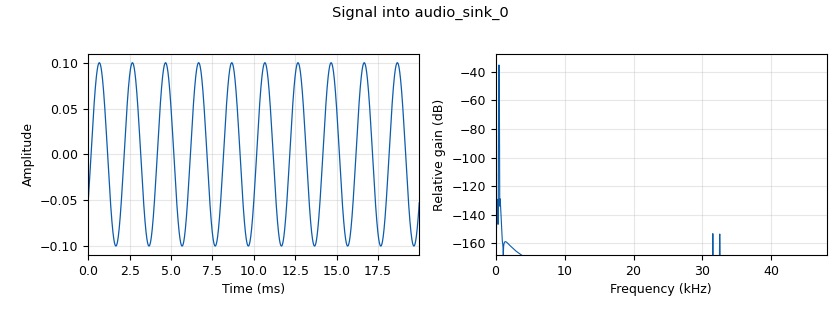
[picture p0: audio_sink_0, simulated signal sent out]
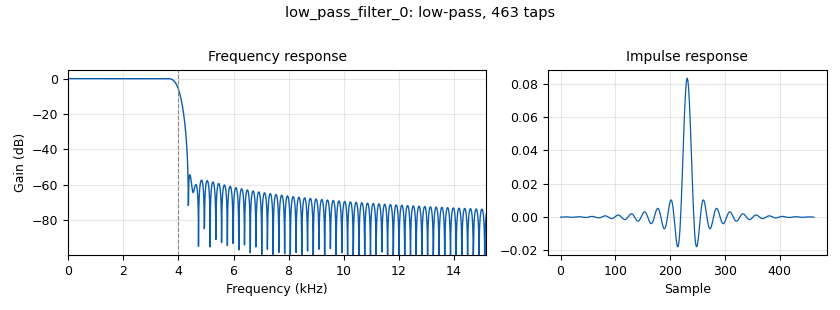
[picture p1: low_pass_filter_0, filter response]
options:
  parameters:
    author: adrian
    generate_options: qt_gui
    id: ITD
    output_language: python
    title: ITD
  states: {}

blocks:
- name: A
  id: variable_qtgui_range
  parameters:
    start: '0'
    step: '.01'
    stop: '10'
    value: '.1'
  states: {}
- name: FFAGC_L
  id: variable
  parameters:
    value: int(samp_rate/64)
  states: {}
- name: FFT_L
  id: variable
  parameters:
    value: '1024'
  states: {}
- name: dec
  id: variable
  parameters:
    value: '100'
  states: {}
- name: f
  id: variable_qtgui_range
  parameters:
    label: f
    start: '100'
    step: '10'
    stop: '5000'
    value: '500'
  states: {}
- name: fc
  id: variable
  parameters:
    value: '4000'
  states: {}
- name: ft
  id: variable
  parameters:
    value: fc/8
  states: {}
- name: imp_L
  id: variable
  parameters:
    value: '10'
  states: {}
- name: imp_N
  id: variable
  parameters:
    value: FFT_L//4
  states: {}
- name: samp_rate
  id: variable
  parameters:
    value: '96000'
  states: {}
- name: analog_const_source_x_0
  id: analog_const_source_x
  parameters:
    const: '0'
    type: float
  states: {}
- name: analog_feedforward_agc_cc_0
  id: analog_feedforward_agc_cc
  parameters:
    num_samples: FFAGC_L
    reference: '1.0'
  states: {state: bypassed}
- name: analog_feedforward_agc_cc_1
  id: analog_feedforward_agc_cc
  parameters:
    num_samples: FFAGC_L
    reference: '1.0'
  states: {state: bypassed}
- name: analog_sig_source_x_0
  id: analog_sig_source_x
  parameters:
    amp: A
    freq: f
    offset: '0'
    phase: '0'
    samp_rate: samp_rate
    type: float
    waveform: analog.GR_COS_WAVE
  states: {}
- name: audio_sink_0
  id: audio_sink
  parameters:
    samp_rate: samp_rate
  states: {}
- name: audio_source_0
  id: audio_source
  parameters:
    comment: |-
      out0 = Right
      out1 = Left
    num_outputs: '2'
    ok_to_block: 'False'
    samp_rate: samp_rate
  states: {}
- name: blocks_complex_to_float_0
  id: blocks_complex_to_float
  parameters: {}
  states: {}
- name: blocks_complex_to_float_0_0
  id: blocks_complex_to_float
  parameters: {}
  states: {}
- name: blocks_complex_to_float_1
  id: blocks_complex_to_float
  parameters:
    vlen: FFT_L
  states: {state: disabled}
- name: blocks_complex_to_magphase_0
  id: blocks_complex_to_magphase
  parameters:
    vlen: FFT_L
  states: {state: disabled}
- name: blocks_complex_to_magphase_0_0
  id: blocks_complex_to_magphase
  parameters:
    vlen: FFT_L
  states: {state: disabled}
- name: blocks_complex_to_magphase_0_1
  id: blocks_complex_to_magphase
  parameters:
    vlen: FFT_L
  states: {}
- name: blocks_float_to_complex_0
  id: blocks_float_to_complex
  parameters: {}
  states: {}
- name: blocks_float_to_complex_0_0
  id: blocks_float_to_complex
  parameters: {}
  states: {}
- name: blocks_integrate_xx_0
  id: blocks_integrate_xx
  parameters:
    decim: dec
    type: float
    vlen: FFT_L
  states: {}
- name: blocks_multiply_const_vxx_0
  id: blocks_multiply_const_vxx
  parameters:
    const: (FFT_L**-1)*np.array([1] * int(FFT_L/2) + [0] *int( FFT_L/2))
    type: float
    vlen: FFT_L
  states: {}
- name: blocks_multiply_const_xx_0
  id: blocks_multiply_const_xx
  parameters:
    const: 1j
    type: complex
  states: {state: disabled}
- name: blocks_multiply_xx_0
  id: blocks_multiply_xx
  parameters:
    type: complex
    vlen: FFT_L
  states: {}
- name: blocks_null_sink_0
  id: blocks_null_sink
  parameters:
    num_inputs: '2'
    type: float
    vlen: FFT_L
  states: {state: disabled}
- name: blocks_null_sink_1
  id: blocks_null_sink
  parameters:
    type: float
    vlen: FFT_L
  states: {}
- name: blocks_phase_shift_0
  id: blocks_phase_shift
  parameters:
    is_radians: 'False'
    shift: '45'
  states: {}
- name: blocks_stream_to_vector_0
  id: blocks_stream_to_vector
  parameters:
    num_items: FFT_L
    type: complex
  states: {}
- name: blocks_stream_to_vector_0_0
  id: blocks_stream_to_vector
  parameters:
    num_items: FFT_L
    type: complex
  states: {}
- name: blocks_vector_source_x_0
  id: blocks_vector_source_x
  parameters:
    repeat: 'True'
    type: float
    vector: A*np.array([1] * imp_L + [0] * (imp_N - imp_L))
  states: {state: disabled}
- name: blocks_vector_to_stream_0
  id: blocks_vector_to_stream
  parameters:
    num_items: FFT_L
    type: float
  states: {state: disabled}
- name: blocks_vector_to_stream_1
  id: blocks_vector_to_stream
  parameters:
    num_items: FFT_L
    type: complex
  states: {}
- name: epy_block_0
  id: epy_block
  parameters:
    N: FFT_L
    _source_code: |
      """
      Embedded Python Blocks:

      Each time this file is saved, GRC will instantiate the first class it finds
      to get ports and parameters of your block. The arguments to __init__  will
      be the parameters. All of them are required to have default values!
      """

      import numpy as np
      from gnuradio import gr


      class blk(gr.sync_block):  # other base classes are basic_block, decim_block, interp_block
          """Takes a vector and returns the index of the maximum value"""

          def __init__(self, N=1024):  # only default arguments here
              """arguments to this function show up as parameters in GRC"""
              gr.sync_block.__init__(
                  self,
                  name='Max idx',   # will show up in GRC
                  in_sig=[(np.float32,N)],
                  out_sig=[(np.float32)]
              )
              # if an attribute with the same name as a parameter is found,
              # a callback is registered (properties work, too).
              self.N = N

          def work(self, input_items, output_items):
              """find idx of max"""
              output_items[0][:] = np.argmax(input_items[0])%self.N
              return len(output_items[0])
  states: {}
- name: epy_block_0_0
  id: epy_block
  parameters:
    N: FFT_L
    _source_code: |
      """
      Embedded Python Blocks:

      Each time this file is saved, GRC will instantiate the first class it finds
      to get ports and parameters of your block. The arguments to __init__  will
      be the parameters. All of them are required to have default values!
      """

      import numpy as np
      from gnuradio import gr


      class blk(gr.sync_block):  # other base classes are basic_block, decim_block, interp_block
          """Zeros out the second hald of the input vector"""

          def __init__(self, N=1024):  # only default arguments here
              """arguments to this function show up as parameters in GRC"""
              gr.sync_block.__init__(
                  self,
                  name='Zero Second Half',   # will show up in GRC
                  in_sig=[(np.float32,N)],
                  out_sig=[(np.float32,N)]
              )
              # if an attribute with the same name as a parameter is found,
              # a callback is registered (properties work, too).
              self.N = N

          def work(self, input_items, output_items):
              """zero out half"""
              tmp=input_items[0]
              tmp[:len(tmp)//2] = 0.0
              output_items[0][:] = input_items[0]
              return len(output_items[0])
  states: {state: disabled}
- name: fft_vxx_0
  id: fft_vxx
  parameters:
    fft_size: FFT_L
    forward: 'True'
    shift: 'False'
    type: complex
    window: window.blackmanharris(FFT_L)
  states: {}
- name: fft_vxx_0_0
  id: fft_vxx
  parameters:
    fft_size: FFT_L
    forward: 'True'
    shift: 'False'
    type: complex
    window: window.blackmanharris(FFT_L)
  states: {}
- name: fft_vxx_0_0_0
  id: fft_vxx
  parameters:
    fft_size: FFT_L
    forward: 'False'
    shift: 'True'
    type: complex
    window: window.blackmanharris(FFT_L)
  states: {}
- name: import_0
  id: import
  parameters:
    imports: import numpy as np
  states: {}
- name: low_pass_filter_0
  id: low_pass_filter
  parameters:
    cutoff_freq: fc
    decim: '1'
    gain: '1'
    samp_rate: samp_rate
    type: fir_filter_ccf
    width: ft
    win: window.WIN_HAMMING
  states: {}
- name: low_pass_filter_0_0
  id: low_pass_filter
  parameters:
    cutoff_freq: fc
    decim: '1'
    gain: '1'
    samp_rate: samp_rate
    type: fir_filter_ccf
    width: ft
    win: window.WIN_HAMMING
  states: {}
- name: qtgui_const_sink_x_0
  id: qtgui_const_sink_x
  parameters:
    size: '1024'
    type: complex
  states: {}
- name: qtgui_time_sink_x_0
  id: qtgui_time_sink_x
  parameters:
    color1: black
    label1: L_re
    label2: R_re
    nconnections: '3'
    size: FFT_L*10
    srate: samp_rate
    type: float
  states: {}
- name: qtgui_time_sink_x_1
  id: qtgui_time_sink_x
  parameters:
    size: '10'
    srate: samp_rate/FFT_L/dec
    type: float
    ymax: FFT_L
    ymin: '0'
  states: {}
- name: qtgui_vector_sink_f_0
  id: qtgui_vector_sink_f
  parameters:
    color1: '"red"'
    color2: '"blue"'
    label1: Mag L
    label2: Mag R
    name: '"R and L freq domain"'
    nconnections: '2'
    vlen: FFT_L
    x_start: '-samp_rate/2'
    x_step: samp_rate/FFT_L
    ymax: '1'
    ymin: '-.01'
  states: {state: disabled}
- name: qtgui_vector_sink_f_0_0
  id: qtgui_vector_sink_f
  parameters:
    name: '"AUTOCORRELATION"'
    vlen: FFT_L
    x_start: '0'
    x_step: '1.0'
  states: {state: disabled}
- name: qtgui_vector_sink_f_0_1
  id: qtgui_vector_sink_f
  parameters:
    color1: '"red"'
    label1: correlation
    name: '"Cross Correlation"'
    vlen: FFT_L
    x_start: '0'
    x_step: '1'
    ymax: '1'
    ymin: '-.01'
  states: {}

connections:
- [analog_const_source_x_0, '0', blocks_float_to_complex_0, '1']
- [analog_const_source_x_0, '0', blocks_float_to_complex_0_0, '1']
- [analog_feedforward_agc_cc_0, '0', low_pass_filter_0, '0']
- [analog_feedforward_agc_cc_1, '0', low_pass_filter_0_0, '0']
- [analog_sig_source_x_0, '0', audio_sink_0, '0']
- [analog_sig_source_x_0, '0', qtgui_time_sink_x_0, '2']
- [audio_source_0, '0', blocks_float_to_complex_0, '0']
- [audio_source_0, '1', blocks_float_to_complex_0_0, '0']
- [blocks_complex_to_float_0, '0', qtgui_time_sink_x_0, '0']
- [blocks_complex_to_float_0_0, '0', qtgui_time_sink_x_0, '1']
- [blocks_complex_to_float_1, '1', blocks_null_sink_1, '0']
- [blocks_complex_to_magphase_0, '0', qtgui_vector_sink_f_0, '0']
- [blocks_complex_to_magphase_0, '1', blocks_null_sink_0, '0']
- [blocks_complex_to_magphase_0_0, '0', qtgui_vector_sink_f_0, '1']
- [blocks_complex_to_magphase_0_0, '1', blocks_null_sink_0, '1']
- [blocks_complex_to_magphase_0_1, '0', blocks_multiply_const_vxx_0, '0']
- [blocks_complex_to_magphase_0_1, '0', epy_block_0_0, '0']
- [blocks_complex_to_magphase_0_1, '1', blocks_null_sink_1, '0']
- [blocks_float_to_complex_0, '0', analog_feedforward_agc_cc_0, '0']
- [blocks_float_to_complex_0_0, '0', blocks_multiply_const_xx_0, '0']
- [blocks_float_to_complex_0_0, '0', blocks_phase_shift_0, '0']
- [blocks_integrate_xx_0, '0', epy_block_0, '0']
- [blocks_integrate_xx_0, '0', qtgui_vector_sink_f_0_1, '0']
- [blocks_multiply_const_vxx_0, '0', blocks_integrate_xx_0, '0']
- [blocks_multiply_const_xx_0, '0', analog_feedforward_agc_cc_1, '0']
- [blocks_multiply_xx_0, '0', fft_vxx_0_0_0, '0']
- [blocks_phase_shift_0, '0', analog_feedforward_agc_cc_1, '0']
- [blocks_stream_to_vector_0, '0', fft_vxx_0, '0']
- [blocks_stream_to_vector_0_0, '0', fft_vxx_0_0, '0']
- [blocks_vector_source_x_0, '0', audio_sink_0, '0']
- [blocks_vector_source_x_0, '0', qtgui_time_sink_x_0, '2']
- [blocks_vector_to_stream_0, '0', qtgui_time_sink_x_1, '0']
- [blocks_vector_to_stream_1, '0', qtgui_const_sink_x_0, '0']
- [epy_block_0, '0', qtgui_time_sink_x_1, '0']
- [epy_block_0_0, '0', qtgui_vector_sink_f_0_1, '0']
- [fft_vxx_0, '0', blocks_multiply_xx_0, '0']
- [fft_vxx_0_0, '0', blocks_multiply_xx_0, '1']
- [fft_vxx_0_0_0, '0', blocks_complex_to_float_1, '0']
- [fft_vxx_0_0_0, '0', blocks_complex_to_magphase_0_1, '0']
- [fft_vxx_0_0_0, '0', blocks_vector_to_stream_1, '0']
- [low_pass_filter_0, '0', blocks_complex_to_float_0, '0']
- [low_pass_filter_0, '0', blocks_stream_to_vector_0, '0']
- [low_pass_filter_0_0, '0', blocks_complex_to_float_0_0, '0']
- [low_pass_filter_0_0, '0', blocks_stream_to_vector_0_0, '0']

metadata:
  file_format: 1
